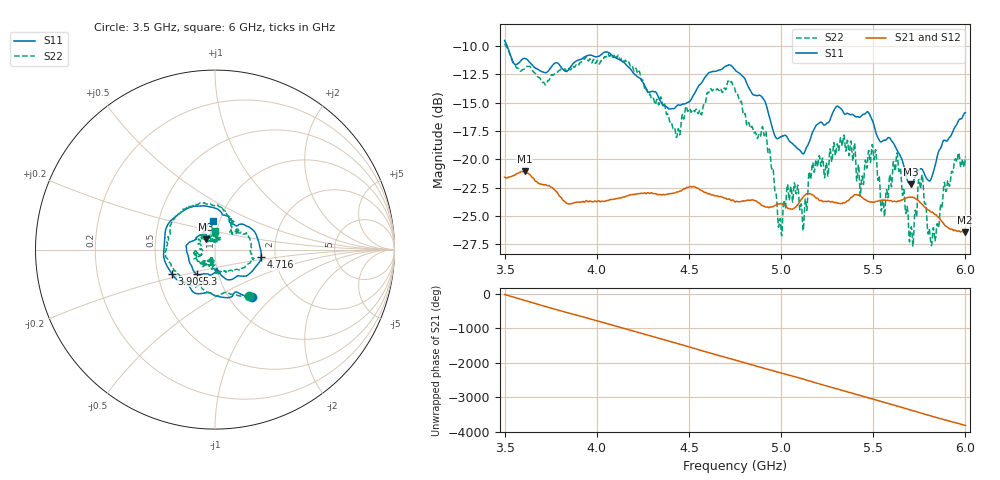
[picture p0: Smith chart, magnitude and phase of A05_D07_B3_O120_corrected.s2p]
! Created with skrf 1.9.0 (http://scikit-rf.org).
# Hz S RI R 50.0
!freq ReS11 ImS11 ReS21 ImS21 ReS12 ImS12 ReS22 ImS22
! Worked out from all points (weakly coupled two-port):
!   1601 points, 3.5 GHz to 6 GHz, reference 50 ohm
!   highest |S21| = -21.07 dB at 3.609 GHz (marker M1); lowest = -26.5 dB at 5.995 GHz (marker M2)
!   lowest |S11| = -22.2 dB at 5.705 GHz (marker M3), VSWR 1.17, Z = 44.8 + j5.26 ohm
!   |S11| at or under -10 dB: 3.514 GHz to end of sweep
!   |S22| runs from -27.7 to -9.8 dB; largest |S21 - S12| = 0.0012
!   S11 on the Smith chart (normalised r, x): 3.5 GHz: 1.27, -0.75; 3.909 GHz: 0.59, -0.17; 4.716 GHz: 1.69, -0.15; 5.3 GHz: 0.79, -0.22; 6 GHz: 0.93, +0.31
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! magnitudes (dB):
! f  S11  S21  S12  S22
! 3.5 GHz  -9.5  -21.6  -21.6  -9.8
! 3.609 GHz  -11.1  -21.1  -21.1  -12.0
! 3.909 GHz  -11.2  -23.8  -23.8  -11.5
! 3.917 GHz  -11.2  -23.8  -23.8  -11.4
! 4.334 GHz  -14.5  -23.1  -23.1  -15.2
! 4.441 GHz  -15.2  -22.9  -22.9  -17.4
! 4.716 GHz  -11.7  -23.5  -23.6  -13.1
! 4.75 GHz  -12.1  -23.8  -23.7  -13.8
! 4.911 GHz  -14.8  -24.2  -24.1  -17.9
! 4.994 GHz  -18.0  -23.9  -23.9  -25.3
! 5.044 GHz  -18.4  -24.4  -24.4  -23.6
! 5.128 GHz  -19.4  -23.2  -23.2  -24.0
! 5.167 GHz  -17.8  -23.1  -23.1  -20.7
! 5.3 GHz  -15.4  -23.8  -23.8  -19.1
! 5.553 GHz  -18.4  -23.6  -23.6  -23.6
! 5.584 GHz  -18.1  -23.6  -23.6  -22.4
! 5.638 GHz  -19.4  -23.7  -23.7  -20.9
! 5.705 GHz  -22.2  -23.4  -23.3  -26.1
! 5.756 GHz  -20.8  -23.9  -23.8  -22.6
! 5.823 GHz  -21.3  -24.7  -24.7  -26.5
! 5.995 GHz  -15.9  -26.5  -26.4  -20.6
! 6 GHz  -15.9  -26.4  -26.4  -19.8
